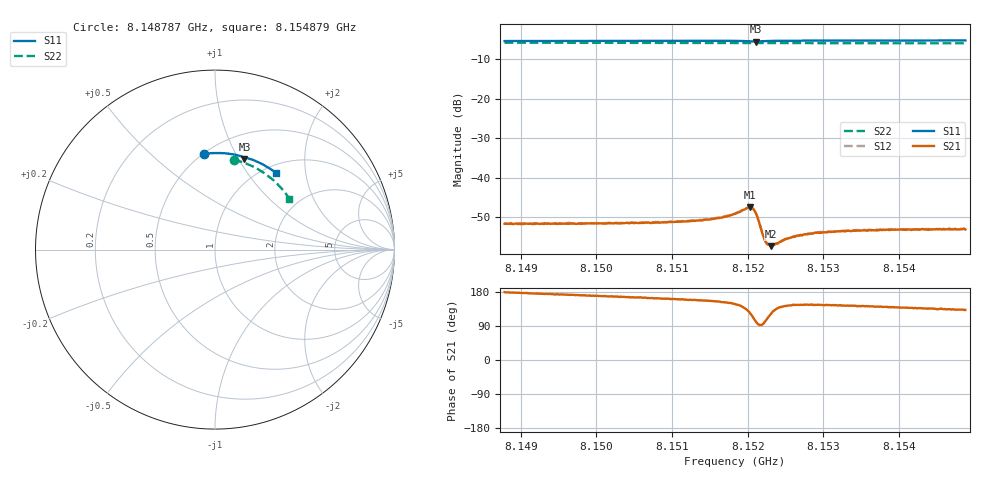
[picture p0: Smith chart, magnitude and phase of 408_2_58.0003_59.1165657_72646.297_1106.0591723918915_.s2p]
#  HZ  S  RI  R  50.00
! Rohde & Schwarz Vector Network Analyzer
! Rohde-Schwarz,ZNB20-2Port,1311601062101988,3.16
! Created: UTC 3/21/2024, 1:08:37 AM
! freq[Hz]  re:S11  im:S11  re:S21  im:S21  re:S12  im:S12  re:S22  im:S22
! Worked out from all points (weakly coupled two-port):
!   401 points, 8.148787 GHz to 8.154879 GHz, reference 50 ohm
!   highest |S21| = -47.45 dB at 8.152031 GHz (marker M1); lowest = -57.3 dB at 8.152305 GHz (marker M2)
!   lowest |S11| = -5.5 dB at 8.152107 GHz (marker M3), VSWR 3.24, Z = 37.9 + j52.8 ohm
!   |S11| at or under -10 dB: nowhere
!   |S22| runs from -6.0 to -5.8 dB; largest |S21 - S12| = 0.00012
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8.1487866e9  -0.0586 0.5334  -0.00262 3.86e-05  -0.00267 0.000122  0.104 0.5006
8.1498071e9  0.0125 0.5382  -0.00259 0.000421  -0.00263 0.000465  0.1671 0.4818
8.1508276e9  0.0834 0.5335  -0.00258 0.000807  -0.00262 0.000875  0.2272 0.4552
8.1514826e9  0.1292 0.5251  -0.0027 0.00119  -0.00273 0.00125  0.2631 0.434
8.1516806e9  0.1434 0.5212  -0.00285 0.00147  -0.00285 0.00154  0.2737 0.4271
8.1518329e9  0.1546 0.5171  -0.00295 0.00187  -0.00299 0.00194  0.2817 0.4215
8.152031e9  0.1666 0.5053  -0.00237 0.00352  -0.00235 0.00358  0.2918 0.4138
8.1520614e9  0.1663 0.5031  -0.00178 0.00371  -0.00175 0.00381  0.2932 0.4127
8.1521071e9  0.164 0.5022  -0.000732 0.00353  -0.000682 0.00355  0.2954 0.4109
8.1521376e9  0.1634 0.5036  -0.000226 0.00299  -0.0002 0.00304  0.2969 0.4099
8.1521985e9  0.1659 0.5075  -0.000143 0.00192  -0.000119 0.00197  0.2999 0.4078
8.152229e9  0.1682 0.5086  -0.000319 0.00157  -0.000244 0.00163  0.3016 0.4067
8.1522594e9  0.1708 0.5093  -0.000477 0.00136  -0.000479 0.00142  0.3032 0.4055
8.1523051e9  0.1749 0.5096  -0.000702 0.00117  -0.000725 0.00118  0.3055 0.4037
8.1523508e9  0.1788 0.5092  -0.000925 0.00108  -0.000913 0.00111  0.3077 0.4019
8.1525184e9  0.1917 0.5064  -0.00136 0.00102  -0.00135 0.00103  0.3158 0.3952
8.1526098e9  0.1983 0.5043  -0.00149 0.001  -0.00148 0.00109  0.3204 0.3914
8.1528535e9  0.2148 0.4984  -0.00164 0.00109  -0.00163 0.00114  0.332 0.3813
8.1529296e9  0.22 0.4963  -0.00168 0.00115  -0.00164 0.00116  0.3355 0.3779
8.1534323e9  0.2522 0.4818  -0.00171 0.00129  -0.00169 0.00137  0.358 0.3555
8.153874e9  0.2791 0.4675  -0.00167 0.0014  -0.00165 0.00146  0.3764 0.3348
8.1548793e9  0.3372 0.4293  -0.00149 0.00165  -0.0015 0.0017  0.4138 0.2842
